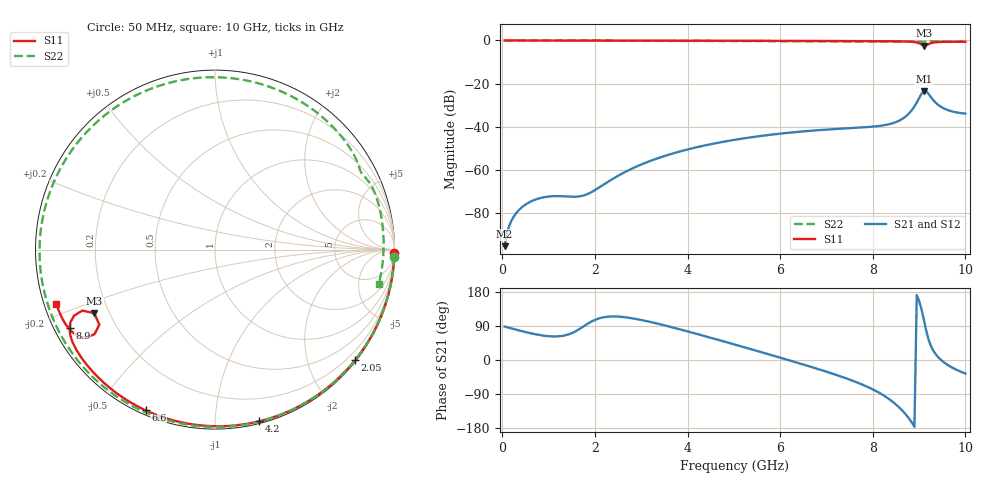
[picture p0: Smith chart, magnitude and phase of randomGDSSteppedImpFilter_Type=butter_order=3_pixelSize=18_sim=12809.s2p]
! freq	dB(S11)	phase(S11)	dB(S12)	phase(S12)
!  dB(S21)	phase(S21)	dB(S22)	phase(S22)
!S-par simulation data
#  GHz  S  DB  R 50
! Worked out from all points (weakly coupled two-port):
!   200 points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, 50 MHz to 10 GHz, reference 50 ohm
!   highest |S21| = -23.45 dB at 9.1 GHz (marker M1); lowest = -95.4 dB at 50 MHz (marker M2)
!   lowest |S11| = -2.4 dB at 9.1 GHz (marker M3), VSWR 7.36, Z = 7.2 - j12.1 ohm
!   |S11| at or under -10 dB: nowhere
!   |S22| runs from -0.7 to 0.0 dB; largest |S21 - S12| = 0
!   S11 on the Smith chart (normalised r, x): 50 MHz: open; 2.05 GHz: 0.03, -2.88; 4.2 GHz: 0.02, -1.29; 6.6 GHz: 0.02, -0.66; 8.9 GHz: 0.04, -0.25; 10 GHz: 0.04, -0.17
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0.05  -0.00 -1.0  -95.38 88.3  -95.38 88.3  -0.00 -2.5
0.3  -0.01 -5.7  -80.07 80.0  -80.07 80.0  -0.02 -14.8
0.6  -0.01 -11.4  -74.84 70.9  -74.84 70.9  -0.04 -29.4
0.95  -0.02 -18.0  -72.50 63.4  -72.50 63.4  -0.06 -45.9
1.35  -0.03 -25.5  -72.29 64.9  -72.29 64.9  -0.08 -64.0
1.75  -0.04 -32.8  -71.90 88.3  -71.90 88.3  -0.09 -81.0
2.05  -0.05 -38.3  -68.73 108.2  -68.73 108.2  -0.10 -93.1
2.65  -0.06 -49.1  -61.00 112.8  -61.00 112.8  -0.12 -115.6
3.4  -0.08 -62.2  -54.30 94.5  -54.30 94.5  -0.15 -141.1
4.2  -0.11 -75.6  -49.50 68.8  -49.50 68.8  -0.18 -166.2
5.05  -0.14 -89.4  -45.94 39.7  -45.94 39.7  -0.22 168.2
5.8  -0.17 -101.2  -43.69 13.4  -43.69 13.4  -0.25 145.4
6.6  -0.22 -113.4  -41.98 -15.6  -41.98 -15.6  -0.30 120.1
6.7  -0.22 -114.9  -41.81 -19.3  -41.81 -19.3  -0.30 116.8
7.55  -0.29 -127.7  -40.62 -54.0  -40.62 -54.0  -0.36 87.3
8.35  -0.37 -140.2  -38.85 -102.9  -38.85 -102.9  -0.42 56.9
8.65  -0.45 -145.6  -36.21 -135.0  -36.21 -135.0  -0.47 44.7
8.9  -0.73 -151.8  -30.58 -176.3  -30.58 -176.3  -0.56 34.4
9.1  -2.38 -152.3  -23.45 108.2  -23.45 108.2  -0.72 27.3
9.25  -1.28 -145.5  -26.12 38.7  -26.12 38.7  -0.51 21.3
9.5  -0.66 -151.9  -31.11 -2.7  -31.11 -2.7  -0.50 9.9
10  -0.59 -161.0  -33.91 -35.8  -33.91 -35.8  -0.61 -11.9
